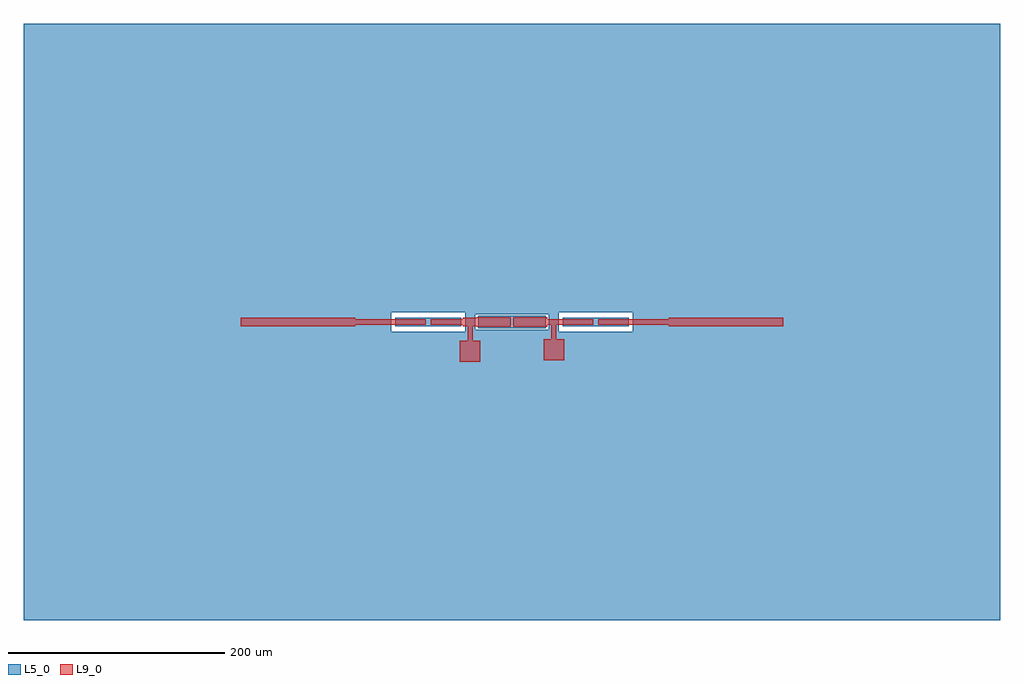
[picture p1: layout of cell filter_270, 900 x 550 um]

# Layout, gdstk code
import gdstk
lib = gdstk.Library(unit=1e-6, precision=1e-09)
def R(c, l, rs):  # rectangles x0, y0, x1, y1
    for r in rs: c.add(gdstk.rectangle(r[:2], r[2:], *l))
def P(c, l, *ps):  # polygons
    for p in ps: c.add(gdstk.Polygon(p, *l))
L5_0 = (5, 0)
L9_0 = (9, 0)

filter_270_microstrip = lib.new_cell('filter_270_microstrip')
P(filter_270_microstrip, L9_0, [(79.331,-2.5),(144.462,-2.5),(144.462,-4),(250,-4),(250,4),(144.462,4),(144.462,2.5),(79.331,2.5)],
  [(1.253,-4.601),(32.495,-4.601),(32.495,-2.5),(36.209,-2.5),(36.209,-15.963),(29.208,-15.963),(29.208,-35.351),(48.012,-35.351),(48.012,-15.963),(41.009,-15.963),(41.009,-2.5),(74.897,-2.5),(74.897,2.5),(32.495,2.5),(32.495,4.601),(1.253,4.601)],
  [(-74.897,-2.5),(-45.273,-2.5),(-45.273,-3.756),(-41.009,-3.756),(-41.009,-17.22),(-48.012,-17.22),(-48.012,-36.608),(-29.208,-36.608),(-29.208,-17.22),(-36.209,-17.22),(-36.209,-3.756),(-32.495,-3.756),(-32.495,-4.601),(-1.253,-4.601),(-1.253,4.601),(-32.495,4.601),(-32.495,3.756),(-45.273,3.756),(-45.273,2.5),(-74.897,2.5)],
  [(-250,-4),(-144.462,-4),(-144.462,-2.5),(-79.331,-2.5),(-79.331,2.5),(-144.462,2.5),(-144.462,4),(-250,4)])

filter_270_ground = lib.new_cell('filter_270_ground')
R(filter_270_ground, L5_0, [(-30.945,-5.712,30.945,5.712), (-107.531,-4.05,-46.995,4.05), (46.995,-4.05,107.531,4.05)])
P(filter_270_ground, L5_0, [(-450,275),(450,275),(450,-275),(43.133,-275),(43.133,-9.15),(111.393,-9.15),(111.393,9.15),(43.133,9.15),(43.133,-275),(-34.085,-275),(-34.085,-7.212),(34.085,-7.212),(34.085,7.212),(-34.085,7.212),(-34.085,-275),(-111.393,-275),(-111.393,-9.15),(-43.133,-9.15),(-43.133,9.15),(-111.393,9.15),(-111.393,-275),(-450,-275)])

filter_270 = lib.new_cell('filter_270')
filter_270.add(gdstk.Reference(filter_270_microstrip, (0,0)))
filter_270.add(gdstk.Reference(filter_270_ground, (0,0)))

lib.write_gds('filter_270.gds')
